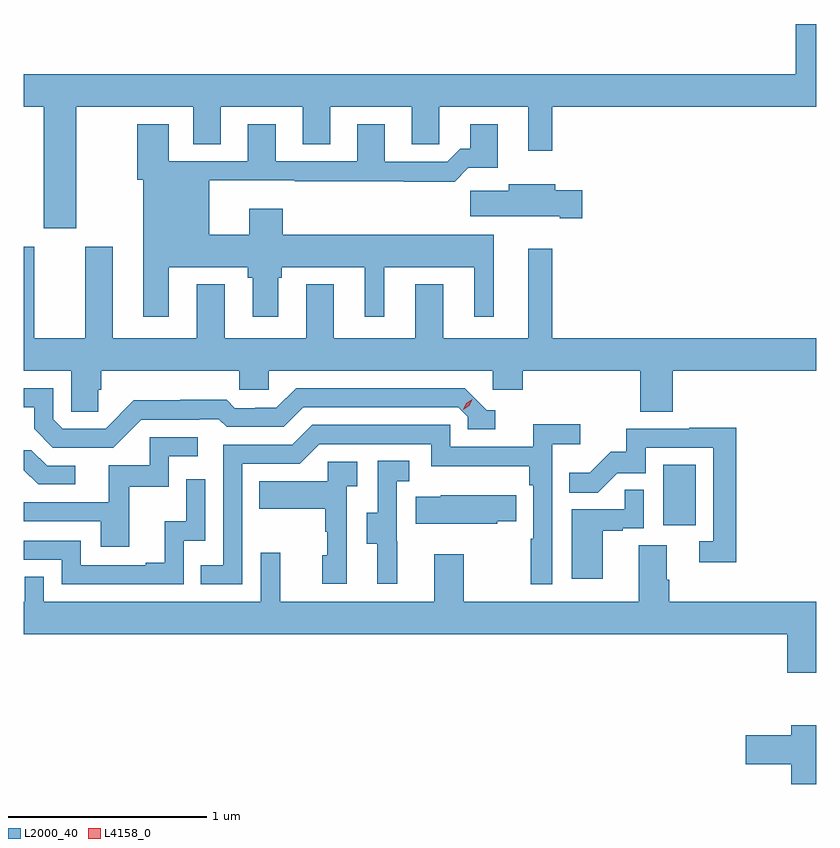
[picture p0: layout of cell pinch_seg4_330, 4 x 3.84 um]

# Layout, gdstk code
import gdstk
lib = gdstk.Library(unit=1e-6, precision=1e-09)
def R(c, l, rs):  # rectangles x0, y0, x1, y1
    for r in rs: c.add(gdstk.rectangle(r[:2], r[2:], *l))
def P(c, l, *ps):  # polygons
    for p in ps: c.add(gdstk.Polygon(p, *l))
L2000_40 = (2000, 40)
L4158_0 = (4158, 0)

pinch_seg4_330 = lib.new_cell('pinch_seg4_330')
R(pinch_seg4_330, L2000_40, [(978.104,809.358,978.268,809.665)])
P(pinch_seg4_330, L2000_40, [(975.139,811.472),(975.731,811.472),(975.731,811.282),(975.871,811.282),(975.871,811.472),(976.283,811.472),(976.283,811.282),(976.423,811.282),(976.423,811.472),(976.835,811.472),(976.835,811.282),(976.974,811.282),(976.974,811.472),(977.423,811.472),(977.423,811.251),(977.545,811.251),(977.545,811.472),(978.876,811.472),(978.876,811.89),(978.773,811.89),(978.773,811.636),(974.876,811.636),(974.876,811.472),(974.975,811.472),(974.975,810.858),(975.139,810.858)],
  [(975.607,810.662),(976.006,810.662),(976.006,810.609),(976.031,810.609),(976.031,810.411),(976.159,810.411),(976.159,810.609),(976.179,810.609),(976.179,810.662),(976.598,810.662),(976.598,810.411),(976.696,810.411),(976.696,810.662),(977.15,810.662),(977.15,810.411),(977.248,810.411),(977.248,810.826),(976.184,810.826),(976.184,810.958),(976.013,810.958),(976.013,810.826),(975.811,810.826),(975.811,811.1),(976.243,811.1),(976.243,811.096),(976.795,811.096),(976.795,811.094),(977.051,811.094),(977.12,811.163),(977.269,811.163),(977.269,811.384),(977.129,811.384),(977.129,811.261),(977.08,811.261),(977.013,811.194),(976.699,811.194),(976.699,811.384),(976.559,811.384),(976.559,811.197),(976.147,811.197),(976.147,811.384),(976.007,811.384),(976.007,811.197),(975.607,811.197),(975.607,811.384),(975.448,811.384),(975.448,811.104),(975.479,811.104),(975.479,810.411),(975.607,810.411)],
  [(977.695,811.05),(977.56,811.05),(977.56,811.081),(977.324,811.081),(977.324,811.049),(977.13,811.049),(977.13,810.92),(977.582,810.92),(977.582,810.908),(977.695,810.908)],
  [(975.185,810.304),(974.929,810.304),(974.929,810.766),(974.876,810.766),(974.876,810.14),(975.114,810.14),(975.114,809.932),(975.251,809.932),(975.251,810.042),(975.266,810.042),(975.266,810.14),(975.963,810.14),(975.963,810.042),(976.113,810.042),(976.113,810.14),(977.244,810.14),(977.244,810.042),(977.396,810.042),(977.396,810.14),(977.987,810.14),(977.987,809.932),(978.152,809.932),(978.152,810.14),(978.876,810.14),(978.876,810.304),(977.545,810.304),(977.545,810.754),(977.423,810.754),(977.423,810.304),(976.993,810.304),(976.993,810.577),(976.853,810.577),(976.853,810.304),(976.441,810.304),(976.441,810.577),(976.301,810.577),(976.301,810.304),(975.889,810.304),(975.889,810.577),(975.749,810.577),(975.749,810.304),(975.325,810.304),(975.325,810.766),(975.185,810.766)],
  [(975.468,809.892),(975.761,809.892),(975.761,809.895),(975.86,809.895),(975.899,809.856),(976.188,809.856),(976.287,809.955),(977.07,809.955),(977.118,809.907),(977.118,809.844),(977.257,809.844),(977.257,809.94),(977.214,809.94),(977.103,810.051),(976.25,810.051),(976.151,809.952),(976.044,809.952),(976.044,809.949),(975.941,809.949),(975.899,809.992),(975.666,809.992),(975.666,809.989),(975.43,809.989),(975.288,809.847),(975.072,809.847),(975.024,809.895),(975.024,810.051),(974.876,810.051),(974.876,809.955),(974.927,809.955),(974.927,809.845),(975.021,809.751),(975.327,809.751)],
  [(975.978,809.67),(976.269,809.67),(976.368,809.769),(976.932,809.769),(976.932,809.657),(977.428,809.657),(977.428,809.561),(977.448,809.561),(977.448,809.291),(977.436,809.291),(977.436,809.061),(977.544,809.061),(977.544,809.768),(977.686,809.768),(977.686,809.87),(977.447,809.87),(977.447,809.754),(977.028,809.754),(977.028,809.865),(976.331,809.865),(976.232,809.766),(975.882,809.766),(975.882,809.157),(975.769,809.157),(975.769,809.061),(975.978,809.061)],
  [(978.473,809.852),(978.235,809.852),(978.235,809.847),(977.917,809.847),(977.917,809.73),(977.84,809.73),(977.733,809.623),(977.629,809.623),(977.629,809.524),(977.773,809.524),(977.871,809.622),(978.015,809.622),(978.015,809.751),(978.357,809.751),(978.357,809.277),(978.285,809.277),(978.285,809.172),(978.473,809.172)],
  [(975.407,809.553),(975.606,809.553),(975.606,809.706),(975.754,809.706),(975.754,809.802),(975.51,809.802),(975.51,809.661),(975.305,809.661),(975.305,809.475),(974.876,809.475),(974.876,809.379),(975.263,809.379),(975.263,809.25),(975.407,809.25)],
  [(975.136,809.658),(974.994,809.658),(974.914,809.738),(974.876,809.738),(974.876,809.637),(974.948,809.565),(975.136,809.565)],
  [(976.76,809.277),(976.758,809.277),(976.758,809.581),(976.822,809.581),(976.822,809.684),(976.662,809.684),(976.662,809.421),(976.607,809.421),(976.607,809.266),(976.661,809.266),(976.661,809.064),(976.76,809.064)],
  [(976.506,809.555),(976.558,809.555),(976.558,809.679),(976.41,809.679),(976.41,809.581),(976.063,809.581),(976.063,809.441),(976.398,809.441),(976.398,809.327),(976.408,809.327),(976.408,809.208),(976.382,809.208),(976.382,809.064),(976.506,809.064)],
  [(975.684,809.28),(975.792,809.28),(975.792,809.59),(975.696,809.59),(975.696,809.378),(975.587,809.378),(975.587,809.17),(975.491,809.17),(975.491,809.157),(975.162,809.157),(975.162,809.28),(974.876,809.28),(974.876,809.184),(975.066,809.184),(975.066,809.061),(975.684,809.061)],
  [(977.8,809.331),(977.9,809.331),(977.9,809.343),(978.006,809.343),(978.006,809.537),(977.911,809.537),(977.911,809.439),(977.642,809.439),(977.642,809.088),(977.8,809.088)],
  [(977.265,809.38),(977.363,809.38),(977.363,809.509),(976.98,809.509),(976.98,809.503),(976.855,809.503),(976.855,809.366),(977.265,809.366)],
  [(978.876,808.972),(978.134,808.972),(978.134,809.084),(978.121,809.084),(978.121,809.258),(977.981,809.258),(977.981,808.972),(977.097,808.972),(977.097,809.212),(976.949,809.212),(976.949,808.972),(976.169,808.972),(976.169,809.221),(976.071,809.221),(976.071,808.972),(974.976,808.972),(974.976,809.099),(974.88,809.099),(974.88,808.972),(974.876,808.972),(974.876,808.808),(978.731,808.808),(978.731,808.614),(978.876,808.614)],
  [(978.876,808.348),(978.752,808.348),(978.752,808.298),(978.522,808.298),(978.522,808.151),(978.752,808.151),(978.752,808.052),(978.876,808.052)])
P(pinch_seg4_330, L4158_0, [(977.094,809.941),(977.094,809.941),(977.109,809.974),(977.14,809.994),(977.14,809.994),(977.14,809.994),(977.125,809.961),(977.094,809.941)])

lib.write_gds('pinch_seg4_330.gds')
